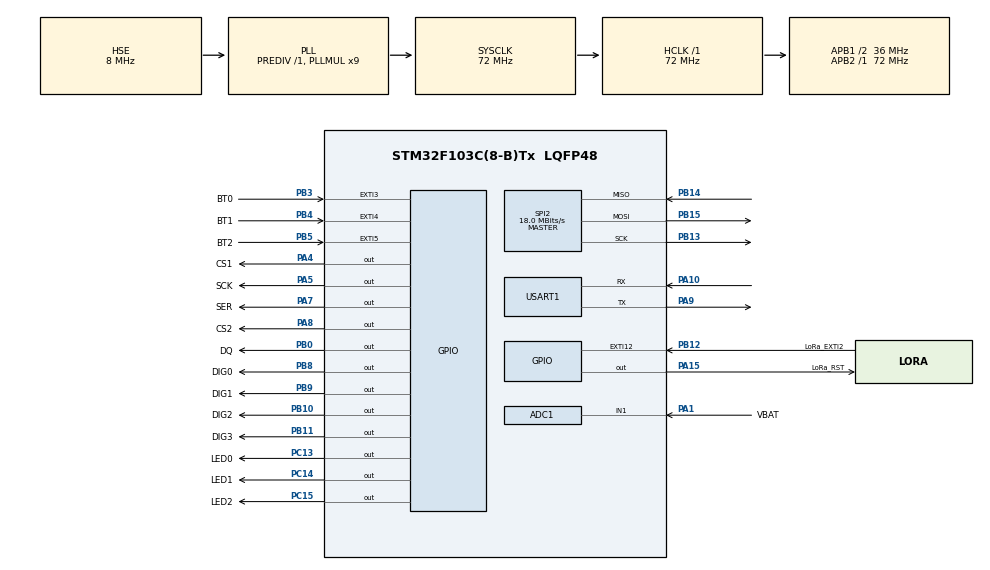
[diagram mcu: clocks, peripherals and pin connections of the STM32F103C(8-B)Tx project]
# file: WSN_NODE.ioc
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ADC1.Channel-1\#ChannelRegularConversion=ADC_CHANNEL_1
ADC1.Channel-2\#ChannelRegularConversion=ADC_CHANNEL_VREFINT
ADC1.ContinuousConvMode=ENABLE
ADC1.NbrOfConversion=2
ADC1.NbrOfConversionFlag=1
ADC1.Rank-1\#ChannelRegularConversion=1
ADC1.Rank-2\#ChannelRegularConversion=2
ADC1.SamplingTime-1\#ChannelRegularConversion=ADC_SAMPLETIME_239CYCLES_5
ADC1.SamplingTime-2\#ChannelRegularConversion=ADC_SAMPLETIME_239CYCLES_5
ADC1.master=1
Dma.ADC1.0.Direction=DMA_PERIPH_TO_MEMORY
Dma.ADC1.0.Instance=DMA1_Channel1
Dma.ADC1.0.MemDataAlignment=DMA_MDATAALIGN_WORD
Dma.ADC1.0.MemInc=DMA_MINC_ENABLE
Dma.ADC1.0.Mode=DMA_CIRCULAR
Dma.ADC1.0.PeriphDataAlignment=DMA_PDATAALIGN_WORD
Dma.ADC1.0.PeriphInc=DMA_PINC_DISABLE
Dma.ADC1.0.Priority=DMA_PRIORITY_LOW
Dma.Request0=ADC1
FREERTOS.Tasks01=defaultTask,0,128,StartDefaultTask,Default,NULL,Dynamic,NULL,NULL
FREERTOS.configUSE_IDLE_HOOK=1
FREERTOS.configUSE_TICKLESS_IDLE=0
FREERTOS.configUSE_TIMERS=1
IWDG.Prescaler=IWDG_PRESCALER_256
IWDG.Reload=2344
Mcu.Family=STM32F1
Mcu.Name=STM32F103C(8-B)Tx
Mcu.Package=LQFP48
NVIC.DMA1_Channel1_IRQn=true\:5\:0\:false\:false\:true\:true\:false\:true\:true
NVIC.EXTI15_10_IRQn=true\:5\:0\:false\:false\:true\:true\:true\:true\:true
NVIC.EXTI3_IRQn=true\:5\:0\:false\:false\:true\:true\:true\:true\:true
NVIC.EXTI4_IRQn=true\:5\:0\:false\:false\:true\:true\:true\:true\:true
NVIC.EXTI9_5_IRQn=true\:5\:0\:false\:false\:true\:true\:true\:true\:true
NVIC.PriorityGroup=NVIC_PRIORITYGROUP_4
NVIC.RTC_Alarm_IRQn=true\:5\:0\:false\:false\:true\:true\:true\:true\:true
NVIC.RTC_IRQn=true\:5\:0\:false\:false\:true\:true\:true\:true\:true
NVIC.TIM1_UP_IRQn=true\:15\:0\:false\:false\:true\:false\:false\:true\:true
NVIC.TIM3_IRQn=true\:5\:0\:false\:false\:true\:true\:true\:true\:true
NVIC.TIM4_IRQn=true\:5\:0\:false\:false\:true\:true\:true\:true\:true
NVIC.TimeBase=TIM1_UP_IRQn
NVIC.TimeBaseIP=TIM1
PA1.GPIO_Label=VBAT
PA1.Signal=ADCx_IN1
PA10.Mode=Asynchronous
PA10.Signal=USART1_RX
PA13.Mode=Serial_Wire
PA13.Signal=SYS_JTMS-SWDIO
PA14.Mode=Serial_Wire
PA14.Signal=SYS_JTCK-SWCLK
PA15.GPIO_Label=LoRa_RST
PA15.GPIO_PuPd=GPIO_PULLUP
PA15.Signal=GPIO_Output
PA4.GPIO_Label=CS1
PA4.GPIO_PuPd=GPIO_NOPULL
PA4.GPIO_Speed=GPIO_SPEED_FREQ_HIGH
PA4.Signal=GPIO_Output
PA5.GPIO_Label=SCK
PA5.GPIO_Speed=GPIO_SPEED_FREQ_HIGH
PA5.Signal=GPIO_Output
PA7.GPIO_Label=SER
PA7.GPIO_Speed=GPIO_SPEED_FREQ_HIGH
PA7.Signal=GPIO_Output
PA8.GPIO_Label=CS2
PA8.GPIO_PuPd=GPIO_PULLUP
PA8.Signal=GPIO_Output
PA9.Mode=Asynchronous
PA9.Signal=USART1_TX
PB0.GPIO_Label=DQ
PB0.GPIO_ModeDefaultOutputPP=GPIO_MODE_OUTPUT_OD
PB0.GPIO_PuPd=GPIO_NOPULL
PB0.GPIO_Speed=GPIO_SPEED_FREQ_HIGH
PB0.Signal=GPIO_Output
PB10.GPIO_Label=DIG2
PB10.GPIO_PuPd=GPIO_NOPULL
PB10.Signal=GPIO_Output
PB11.GPIO_Label=DIG3
PB11.GPIO_PuPd=GPIO_NOPULL
PB11.Signal=GPIO_Output
PB12.GPIO_Label=LoRa_EXTI2
PB12.GPIO_PuPd=GPIO_PULLDOWN
PB12.Signal=GPXTI12
PB13.Mode=Full_Duplex_Master
PB13.Signal=SPI2_SCK
PB14.Mode=Full_Duplex_Master
PB14.Signal=SPI2_MISO
PB15.Mode=Full_Duplex_Master
PB15.Signal=SPI2_MOSI
PB3.GPIO_Label=BT0
PB3.GPIO_ModeDefaultEXTI=GPIO_MODE_IT_FALLING
PB3.Signal=GPXTI3
PB4.GPIO_Label=BT1
PB4.GPIO_ModeDefaultEXTI=GPIO_MODE_IT_FALLING
PB4.Signal=GPXTI4
PB5.GPIO_Label=BT2
PB5.GPIO_ModeDefaultEXTI=GPIO_MODE_IT_FALLING
PB5.Signal=GPXTI5
PB8.GPIO_Label=DIG0
PB8.GPIO_PuPd=GPIO_NOPULL
PB8.Signal=GPIO_Output
PB9.GPIO_Label=DIG1
PB9.GPIO_PuPd=GPIO_NOPULL
PB9.Signal=GPIO_Output
PC13-TAMPER-RTC.GPIO_Label=LED0
PC13-TAMPER-RTC.GPIO_PuPd=GPIO_PULLUP
PC13-TAMPER-RTC.Signal=GPIO_Output
PC14-OSC32_IN.GPIO_Label=LED1
PC14-OSC32_IN.GPIO_PuPd=GPIO_PULLUP
PC14-OSC32_IN.Signal=GPIO_Output
PC15-OSC32_OUT.GPIO_Label=LED2
PC15-OSC32_OUT.GPIO_PuPd=GPIO_PULLUP
PC15-OSC32_OUT.Signal=GPIO_Output
PD0-OSC_IN.Mode=HSE-External-Oscillator
PD0-OSC_IN.Signal=RCC_OSC_IN
PD1-OSC_OUT.Mode=HSE-External-Oscillator
PD1-OSC_OUT.Signal=RCC_OSC_OUT
ProjectManager.HeapSize=0x200
ProjectManager.StackSize=0x400
ProjectManager.TargetToolchain=Makefile
RCC.ADCPresc=RCC_ADCPCLK2_DIV6
RCC.AHBFreq_Value=72000000
RCC.APB1CLKDivider=RCC_HCLK_DIV2
RCC.APB1Freq_Value=36000000
RCC.APB1TimFreq_Value=72000000
RCC.APB2Freq_Value=72000000
RCC.APB2TimFreq_Value=72000000
RCC.HCLKFreq_Value=72000000
RCC.PLLMUL=RCC_PLL_MUL9
RCC.PLLSourceVirtual=RCC_PLLSOURCE_HSE
RCC.SYSCLKFreq_VALUE=72000000
RCC.SYSCLKSource=RCC_SYSCLKSOURCE_PLLCLK
RCC.USBFreq_Value=72000000
RTC.AutoPrediv=RTC_AUTO_1_SECOND
RTC.Format=RTC_FORMAT_BCD
RTC.OutPut=RTC_OUTPUTSOURCE_ALARM
SH.ADCx_IN1.0=ADC1_IN1,IN1
SPI2.BaudRatePrescaler=SPI_BAUDRATEPRESCALER_2
SPI2.CalculateBaudRate=18.0 MBits/s
SPI2.Direction=SPI_DIRECTION_2LINES
SPI2.Mode=SPI_MODE_MASTER
SPI2.VirtualType=VM_MASTER
TIM2.Period=65535
TIM2.Prescaler=71
TIM3.Period=1999
TIM3.Prescaler=71
TIM4.Period=14999
TIM4.Prescaler=7199
USART1.VirtualMode=VM_ASYNC
VP_ADC1_Vref_Input.Mode=IN-Vrefint
VP_FREERTOS_VS_CMSIS_V1.Mode=CMSIS_V1
VP_IWDG_VS_IWDG.Mode=IWDG_Activate
VP_RTC_VS_RTC_Activate.Mode=RTC_Enabled
VP_SYS_VS_tim1.Mode=TIM1
VP_TIM2_VS_ClockSourceINT.Mode=Internal
VP_TIM3_VS_ClockSourceINT.Mode=Internal
VP_TIM4_VS_ClockSourceINT.Mode=Internal
board=custom

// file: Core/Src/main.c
/* USER CODE BEGIN Header */
/**
  ******************************************************************************
  * @file           : main.c
  * @brief          : Main program body
  ******************************************************************************
  * @attention
  *
  * Copyright (c) 2022 STMicroelectronics.
  * All rights reserved.
  *
  * This software is licensed under terms that can be found in the LICENSE file
  * in the root directory of this software component.
  * If no LICENSE file comes with this software, it is provided AS-IS.
  *
  ******************************************************************************
  */
/* USER CODE END Header */
#include "main.h"
#include "cmsis_os.h"
#include "adc.h"
#include "dma.h"
#include "iwdg.h"
#include "rtc.h"
#include "spi.h"
#include "tim.h"
#include "usart.h"
#include "gpio.h"

/* USER CODE BEGIN Includes */

#include <stdio.h>
#include <stdint.h>
#include <string.h>
#include <stdlib.h>
#include <math.h>
#include <stdbool.h>
#include <time.h>
#include "sx1278.h"
#include "common.h"
#include "display.h"

/* USER CODE END Includes */

void SystemClock_Config(void);
void MX_FREERTOS_Init(void);

/* USER CODE BEGIN 0 */
static const char *TAG = "MAIN";
sx1278_node_t sx1278_node;
/* USER CODE END 0 */

int main(void)
{

  /* MCU Configuration--------------------------------------------------------*/

  /* Reset of all peripherals, Initializes the Flash interface and the Systick. */
  HAL_Init();

  /* Configure the system clock */
  SystemClock_Config();

  /* Initialize all configured peripherals */
  MX_GPIO_Init();
  MX_DMA_Init();
  MX_ADC1_Init();
  MX_SPI2_Init();
  MX_USART1_UART_Init();
  MX_TIM2_Init();
  MX_TIM3_Init();
  MX_TIM4_Init();
  MX_IWDG_Init();
  MX_RTC_Init();
  /* USER CODE BEGIN 2 */
  // sx1278_node.node_id = get_random_value(1, 99);
  sx1278_node.node_id = 6;
  char data_log[20];
  sprintf(data_log, "node_id: %d", sx1278_node.node_id);
  LOG(TAG, data_log);
  /* USER CODE END 2 */

  /* Call init function for freertos objects (in freertos.c) */
  MX_FREERTOS_Init();

  /* Start scheduler */
  osKernelStart();

  /* We should never get here as control is now taken by the scheduler */
  /* Infinite loop */
  while (1)
  {

  }
}

void SystemClock_Config(void)
{
  RCC_OscInitTypeDef RCC_OscInitStruct = {0};
  RCC_ClkInitTypeDef RCC_ClkInitStruct = {0};
  RCC_PeriphCLKInitTypeDef PeriphClkInit = {0};

  /** Initializes the RCC Oscillators according to the specified parameters
  * in the RCC_OscInitTypeDef structure.
  */
  RCC_OscInitStruct.OscillatorType = RCC_OSCILLATORTYPE_LSI|RCC_OSCILLATORTYPE_HSE;
  RCC_OscInitStruct.HSEState = RCC_HSE_ON;
  RCC_OscInitStruct.HSEPredivValue = RCC_HSE_PREDIV_DIV1;
  RCC_OscInitStruct.HSIState = RCC_HSI_ON;
  RCC_OscInitStruct.LSIState = RCC_LSI_ON;
  RCC_OscInitStruct.PLL.PLLState = RCC_PLL_ON;
  RCC_OscInitStruct.PLL.PLLSource = RCC_PLLSOURCE_HSE;
  RCC_OscInitStruct.PLL.PLLMUL = RCC_PLL_MUL9;
  if (HAL_RCC_OscConfig(&RCC_OscInitStruct) != HAL_OK)
  {
    Error_Handler();
  }

  /** Initializes the CPU, AHB and APB buses clocks
  */
  RCC_ClkInitStruct.ClockType = RCC_CLOCKTYPE_HCLK|RCC_CLOCKTYPE_SYSCLK
                              |RCC_CLOCKTYPE_PCLK1|RCC_CLOCKTYPE_PCLK2;
  RCC_ClkInitStruct.SYSCLKSource = RCC_SYSCLKSOURCE_PLLCLK;
  RCC_ClkInitStruct.AHBCLKDivider = RCC_SYSCLK_DIV1;
  RCC_ClkInitStruct.APB1CLKDivider = RCC_HCLK_DIV2;
  RCC_ClkInitStruct.APB2CLKDivider = RCC_HCLK_DIV1;

  if (HAL_RCC_ClockConfig(&RCC_ClkInitStruct, FLASH_LATENCY_2) != HAL_OK)
  {
    Error_Handler();
  }
  PeriphClkInit.PeriphClockSelection = RCC_PERIPHCLK_RTC|RCC_PERIPHCLK_ADC;
  PeriphClkInit.RTCClockSelection = RCC_RTCCLKSOURCE_LSI;
  PeriphClkInit.AdcClockSelection = RCC_ADCPCLK2_DIV6;
  if (HAL_RCCEx_PeriphCLKConfig(&PeriphClkInit) != HAL_OK)
  {
    Error_Handler();
  }
}

/* USER CODE BEGIN 4 */
// __weak
/* USER CODE END 4 */

__weak void HAL_TIM_PeriodElapsedCallback(TIM_HandleTypeDef *htim)
{
  if (htim->Instance == TIM1) {
    HAL_IncTick();
  }
}

void Error_Handler(void)
{
  /* USER CODE BEGIN Error_Handler_Debug */
  /* User can add his own implementation to report the HAL error return state */
  __disable_irq();
  while (1)
  {
    __NVIC_SystemReset();
  }
  /* USER CODE END Error_Handler_Debug */
}

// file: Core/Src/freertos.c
/* USER CODE BEGIN Header */
/**
  ******************************************************************************
  * File Name          : freertos.c
  * Description        : Code for freertos applications
  ******************************************************************************
  * @attention
  *
  * <h2><center>&copy; Copyright (c) 2023 STMicroelectronics.
  * All rights reserved.</center></h2>
  *
  * This software component is licensed by ST under Ultimate Liberty license
  * SLA0044, the "License"; You may not use this file except in compliance with
  * the License. You may obtain a copy of the License at:
  *                             www.st.com/SLA0044
  *
  ******************************************************************************
  */
/* USER CODE END Header */

#include "FreeRTOS.h"
#include "task.h"
#include "main.h"
#include "cmsis_os.h"

/* USER CODE BEGIN Includes */
#include <stdio.h>

#include "time.h"
#include "timers.h"
#include "portmacro.h"
#include "event_groups.h"
#include "semphr.h"

#include "display.h"
#include "DS18B20.h"
#include "sx1278.h"
#include "common.h"

#include "adc.h"
#include "iwdg.h"
#include "rtc.h"
/* USER CODE END Includes */

/* USER CODE BEGIN PD */

#define VREFINT             (1.21)
#define ADC_RESOLUTION      (4095.0)
#define RATIO               (1.3216)
/* USER CODE END PD */

/* USER CODE BEGIN Variables */

RTC_TimeTypeDef stime = {
  .Hours = 0,
  .Minutes = 0,
  .Seconds = 0
};

RTC_AlarmTypeDef salarm = {
  .Alarm = 0,
  .AlarmTime.Hours = 0,
  .AlarmTime.Minutes = 0,
  .AlarmTime.Seconds = 9,
};

SemaphoreHandle_t xSema;

bool isButtonPress = false;
bool isSleep = false;
bool isIndicate = false;

uint8_t btPressed = 0xFF;

static const char *TAG = "FREERTOS";
EventGroupHandle_t sx1278_evt_group;
extern sx1278_node_t sx1278_node;
BaseType_t xHigherPriorityTaskWoken = pdFALSE;

/* USER CODE END Variables */
osThreadId defaultTaskHandle;

/* USER CODE BEGIN FunctionPrototypes */

void sx1278_task(void *param)
{
  static uint8_t data_send[128] = {0};
  static uint8_t data_recv[128] = {0};
  static char data_log[100];
  static char snr_arr[10];
  static float snr = 0;
  static int rssi = 0;
  EventBits_t evt_bits;
  sx1278_init();
	sx1278_evt_group = xEventGroupCreate();
	while(1)
	{
		sx1278_start_recv_data();
		evt_bits = xEventGroupWaitBits(sx1278_evt_group, SX1278_DIO0_BIT, pdTRUE, pdFALSE, portMAX_DELAY);
		if(evt_bits & SX1278_DIO0_BIT)
		{
			if(sx1278_recv_data(data_recv, &rssi, &snr, &sx1278_node) == SX1278_OK)
			{
        memset(data_log, '\0', sizeof(data_log));
        memset(snr_arr, '\0', sizeof(snr_arr));
				ftoa((double)snr, snr_arr, 2);
				sprintf(data_log, "Packet rssi: %d, snr: %s", rssi, snr_arr);
				LOG(TAG, data_log);
				listen_before_talk();
				send_respond(UPLINK_TX_RESPOND_OPCODE, sx1278_node, data_send);
			}
			else
			{
        //Do nothing
			}
		}
	}
}

void peripheral_task(void *param)
{

  DS18B20_Init(DS18B20_Resolution_12bits);
  displayInit();
  displayInt(8888);

  static uint8_t sw = 0;
  static uint16_t ADC_VREF_mV = 3300;
  static uint32_t adc[22] = {0};

  HAL_GPIO_WritePin(LED0_GPIO_Port, LED0_Pin, GPIO_PIN_SET);
  HAL_GPIO_WritePin(LED1_GPIO_Port, LED1_Pin, GPIO_PIN_SET);
  HAL_GPIO_WritePin(LED2_GPIO_Port, LED2_Pin, GPIO_PIN_SET);

  static float temperature = 0;
  static float battery = 0;

  __HAL_TIM_SetCounter(&htim4, 0);
  __HAL_TIM_CLEAR_IT(&htim4, TIM_IT_UPDATE);

  volatile uint32_t timeKeeper0 = HAL_GetTick();
  volatile uint32_t timeKeeper1 = HAL_GetTick() - 1000;
  volatile uint32_t timeKeeper2 = HAL_GetTick();

	while(1)
	{
    HAL_ADC_Start_DMA(&hadc1, adc, 20);
    HAL_RTC_SetTime(&hrtc, &stime, RTC_FORMAT_BCD);
    HAL_RTC_SetAlarm_IT(&hrtc, &salarm, RTC_FORMAT_BCD);
    timeKeeper0 = HAL_GetTick();
    timeKeeper1 = HAL_GetTick() - 1000;
    timeKeeper2 = HAL_GetTick();
    while ((HAL_GetTick() - timeKeeper2) <= 3000)
    {
      if ((HAL_GetTick() - timeKeeper0) >= 1000)
      {
        DS18B20_Read(0, &temperature);
        DS18B20_Start(0);
        timeKeeper0 = HAL_GetTick();
      }

      if ((btPressed == 0) && (temperature <= 125) && (temperature >= -55))
        displayFloat(temperature);
      else if ((btPressed == 1) && (battery <= 4.5) && (battery >= 2.4))
        displayFloat(battery);
      else if (btPressed == 2)
        displayInt(sx1278_node.node_id);

      if ((isIndicate == true) && (btPressed == 0xFF) && ((HAL_GetTick() - timeKeeper1) >= 1000))
      {
        if (sw == 0 )
        {
          displayInt(sx1278_node.node_id);
          sw = 1;
        }
        else if ((sw == 1) && (temperature <= 125) && (temperature >= -55))
        {
          displayFloat(temperature);
          sw = 2;
        }
        else if ((sw == 2) && (battery <= 4.5) && (battery >= 2.4))
        {
          displayFloat(battery);
          sw = 0;
        }
        timeKeeper1 = HAL_GetTick();
      }

      adc[20] = 0;
      adc[21] = 0;
      for (uint8_t i = 0; i < 20; i += 2)
      {
        adc[20] += adc[i];
        adc[21] += adc[i+1];
      }
      adc[20] /= 10;
      adc[21] /= 10;

      ADC_VREF_mV = (uint16_t)(VREFINT * ADC_RESOLUTION * 1000 / adc[21]) - 130;
      battery = (float)(((float)adc[20] * RATIO * ADC_VREF_mV / ADC_RESOLUTION) / 1000);
      ftoa((double)temperature, sx1278_node.temp, 2);
      ftoa((double)battery, sx1278_node.battery, 2);
      HAL_Delay(500);
    }
    HAL_GPIO_WritePin(LED0_GPIO_Port, LED0_Pin, GPIO_PIN_SET);
    HAL_GPIO_WritePin(LED1_GPIO_Port, LED1_Pin, GPIO_PIN_SET);
    HAL_GPIO_WritePin(LED2_GPIO_Port, LED2_Pin, GPIO_PIN_SET);
    displayStop();
    HAL_ADC_Stop_DMA(&hadc1);

    btPressed = 0xFF;
    sw = 0;
    isButtonPress = false;
    isSleep = true;

    HAL_IWDG_Refresh(&hiwdg);
    if (uxSemaphoreGetCount(xSema) > 0)   xSemaphoreTake(xSema, portMAX_DELAY);
    if (xSemaphoreTake(xSema, portMAX_DELAY) == pdTRUE);
    HAL_Delay(1);
	}
}

/* USER CODE END FunctionPrototypes */

void StartDefaultTask(void const * argument);

void MX_FREERTOS_Init(void); /* (MISRA C 2004 rule 8.1) */

/* GetIdleTaskMemory prototype (linked to static allocation support) */
void vApplicationGetIdleTaskMemory( StaticTask_t **ppxIdleTaskTCBBuffer, StackType_t **ppxIdleTaskStackBuffer, uint32_t *pulIdleTaskStackSize );

/* GetTimerTaskMemory prototype (linked to static allocation support) */
void vApplicationGetTimerTaskMemory( StaticTask_t **ppxTimerTaskTCBBuffer, StackType_t **ppxTimerTaskStackBuffer, uint32_t *pulTimerTaskStackSize );

/* Hook prototypes */
void vApplicationIdleHook(void);

/* USER CODE BEGIN 2 */
__weak void vApplicationIdleHook( void )
{
    /* vApplicationIdleHook() will only be called if configUSE_IDLE_HOOK is set
    to 1 in FreeRTOSConfig.h. It will be called on each iteration of the idle
    task. It is essential that code added to this hook function never attempts
    to block in any way (for example, call xQueueReceive() with a block time
    specified, or call vTaskDelay()). If the application makes use of the
    vTaskDelete() API function (as this demo application does) then it is also
    important that vApplicationIdleHook() is permitted to return to its calling
    function, because it is the responsibility of the idle task to clean up
    memory allocated by the kernel to any task that has since been deleted. */

  if (isSleep == true)
  {
    HAL_SuspendTick();
    // HAL_PWR_EnterSLEEPMode(PWR_MAINREGULATOR_ON, PWR_SLEEPENTRY_WFI);
    HAL_PWR_EnterSTOPMode(PWR_LOWPOWERREGULATOR_ON, PWR_SLEEPENTRY_WFI);
  }

}

void restartCLK(void)
{
  RCC_OscInitTypeDef RCC_OscInitStruct = {0};
  RCC_ClkInitTypeDef RCC_ClkInitStruct = {0};
  RCC_PeriphCLKInitTypeDef PeriphClkInit = {0};

  /** Initializes the RCC Oscillators according to the specified parameters
  * in the RCC_OscInitTypeDef structure.
  */
  RCC_OscInitStruct.OscillatorType = RCC_OSCILLATORTYPE_LSI|RCC_OSCILLATORTYPE_HSE;
  RCC_OscInitStruct.HSEState = RCC_HSE_ON;
  RCC_OscInitStruct.HSEPredivValue = RCC_HSE_PREDIV_DIV1;
  RCC_OscInitStruct.HSIState = RCC_HSI_ON;
  RCC_OscInitStruct.LSIState = RCC_LSI_ON;
  RCC_OscInitStruct.PLL.PLLState = RCC_PLL_ON;
  RCC_OscInitStruct.PLL.PLLSource = RCC_PLLSOURCE_HSE;
  RCC_OscInitStruct.PLL.PLLMUL = RCC_PLL_MUL9;
  if (HAL_RCC_OscConfig(&RCC_OscInitStruct) != HAL_OK)
  {
    Error_Handler();
  }

  /** Initializes the CPU, AHB and APB buses clocks
  */
  RCC_ClkInitStruct.ClockType = RCC_CLOCKTYPE_HCLK|RCC_CLOCKTYPE_SYSCLK
                              |RCC_CLOCKTYPE_PCLK1|RCC_CLOCKTYPE_PCLK2;
  RCC_ClkInitStruct.SYSCLKSource = RCC_SYSCLKSOURCE_PLLCLK;
  RCC_ClkInitStruct.AHBCLKDivider = RCC_SYSCLK_DIV1;
  RCC_ClkInitStruct.APB1CLKDivider = RCC_HCLK_DIV2;
  RCC_ClkInitStruct.APB2CLKDivider = RCC_HCLK_DIV1;

  if (HAL_RCC_ClockConfig(&RCC_ClkInitStruct, FLASH_LATENCY_2) != HAL_OK)
  {
    Error_Handler();
  }
  PeriphClkInit.PeriphClockSelection = RCC_PERIPHCLK_RTC|RCC_PERIPHCLK_ADC;
  PeriphClkInit.RTCClockSelection = RCC_RTCCLKSOURCE_LSI;
  PeriphClkInit.AdcClockSelection = RCC_ADCPCLK2_DIV6;
  if (HAL_RCCEx_PeriphCLKConfig(&PeriphClkInit) != HAL_OK)
  {
    Error_Handler();
  }
}

/* USER CODE END 2 */

/* USER CODE BEGIN GET_IDLE_TASK_MEMORY */
static StaticTask_t xIdleTaskTCBBuffer;
static StackType_t xIdleStack[configMINIMAL_STACK_SIZE];

void vApplicationGetIdleTaskMemory( StaticTask_t **ppxIdleTaskTCBBuffer, StackType_t **ppxIdleTaskStackBuffer, uint32_t *pulIdleTaskStackSize )
{
  *ppxIdleTaskTCBBuffer = &xIdleTaskTCBBuffer;
  *ppxIdleTaskStackBuffer = &xIdleStack[0];
  *pulIdleTaskStackSize = configMINIMAL_STACK_SIZE;
  /* place for user code */
}
/* USER CODE END GET_IDLE_TASK_MEMORY */

/* USER CODE BEGIN GET_TIMER_TASK_MEMORY */
static StaticTask_t xTimerTaskTCBBuffer;
static StackType_t xTimerStack[configTIMER_TASK_STACK_DEPTH];

void vApplicationGetTimerTaskMemory( StaticTask_t **ppxTimerTaskTCBBuffer, StackType_t **ppxTimerTaskStackBuffer, uint32_t *pulTimerTaskStackSize )
{
  *ppxTimerTaskTCBBuffer = &xTimerTaskTCBBuffer;
  *ppxTimerTaskStackBuffer = &xTimerStack[0];
  *pulTimerTaskStackSize = configTIMER_TASK_STACK_DEPTH;
  /* place for user code */
}
/* USER CODE END GET_TIMER_TASK_MEMORY */

void MX_FREERTOS_Init(void) {

  /* USER CODE BEGIN RTOS_SEMAPHORES */
  /* add semaphores, ... */
  xSema = xSemaphoreCreateBinary();
  /* USER CODE END RTOS_SEMAPHORES */

  /* Create the thread(s) */
  /* definition and creation of defaultTask */
  // osThreadDef(defaultTask, StartDefaultTask, osPriorityNormal, 0, 128);
  // defaultTaskHandle = osThreadCreate(osThread(defaultTask), NULL);

  /* USER CODE BEGIN RTOS_THREADS */
  /* add threads, ... */
  xTaskCreate(&sx1278_task, "SX1278", 256, NULL, 9, NULL);
  xTaskCreate(&peripheral_task, "PERIPHERAL", 256, NULL, 10, NULL);
  /* USER CODE END RTOS_THREADS */

}

void StartDefaultTask(void const * argument)
{
  for(;;)
  {
    osDelay(1);
  }
}

/* USER CODE BEGIN Application */

void HAL_GPIO_EXTI_Callback(uint16_t GPIO_Pin)
{
  if (isSleep == true)
  {
    do
    {
      uwTick = 0;
      HAL_RCC_DeInit();
      restartCLK();
    }
    while (HAL_RCC_GetHCLKFreq() != 72000000);
    HAL_ResumeTick();
    xSemaphoreGiveFromISR(xSema, &xHigherPriorityTaskWoken);
    isSleep = false;
  }

  if ((HAL_GPIO_ReadPin(GPIOB, GPIO_Pin) == 0) && (isButtonPress == false) && (GPIO_Pin != GPIO_PIN_12))
  {
    isButtonPress = true;

    if (GPIO_Pin == BT0_Pin)
    {
      btPressed = 0;
      HAL_GPIO_WritePin(LED2_GPIO_Port, LED2_Pin, GPIO_PIN_RESET);
    }
    else if (GPIO_Pin == BT1_Pin)
    {
      btPressed = 1;
      HAL_GPIO_WritePin(LED1_GPIO_Port, LED1_Pin, GPIO_PIN_RESET);
    }
    else if (GPIO_Pin == BT2_Pin)
    {
      btPressed = 2;
      HAL_TIM_Base_Start_IT(&htim4);
      HAL_GPIO_WritePin(LED0_GPIO_Port, LED0_Pin, GPIO_PIN_RESET);
    }
    displayResume();
  }

  if ((HAL_GPIO_ReadPin(GPIOB, GPIO_Pin) == 1) && (GPIO_Pin == GPIO_PIN_12))
	{
		xEventGroupSetBitsFromISR(sx1278_evt_group, SX1278_DIO0_BIT, &xHigherPriorityTaskWoken);
	}
}

void HAL_TIM_PeriodElapsedCallback(TIM_HandleTypeDef *htim)
{
    /* USER CODE BEGIN Callback 0 */

  /* USER CODE END Callback 0 */
  if (htim->Instance == TIM1)
  {
    HAL_IncTick();
  }
  /* USER CODE BEGIN Callback 1 */

  if (htim->Instance == TIM3)
  {
    displayDigit(digIndex++);
    if (digIndex >= 4)  digIndex = 0;
  }

  if (htim->Instance == TIM4)
  {
    HAL_TIM_Base_Stop_IT(&htim4);
    if (HAL_GPIO_ReadPin(BT2_GPIO_Port, BT2_Pin) == 0)
    {
      isIndicate = !isIndicate;
      HAL_GPIO_WritePin(LED1_GPIO_Port, LED1_Pin, GPIO_PIN_RESET);
      HAL_GPIO_WritePin(LED2_GPIO_Port, LED2_Pin, GPIO_PIN_RESET);
    }
  }

  /* USER CODE END Callback 1 */
}

void HAL_RTC_AlarmAEventCallback(RTC_HandleTypeDef *hrtc)
{
  if (isSleep == true)
  {
    do
    {
      uwTick = 0;
      HAL_RCC_DeInit();
      restartCLK();
    }
    while (HAL_RCC_GetHCLKFreq() != 72000000);
    if (isIndicate == true)
    {
      displayResume();
      HAL_GPIO_WritePin(LED0_GPIO_Port, LED0_Pin, GPIO_PIN_RESET);
      HAL_GPIO_WritePin(LED1_GPIO_Port, LED1_Pin, GPIO_PIN_RESET);
      HAL_GPIO_WritePin(LED2_GPIO_Port, LED2_Pin, GPIO_PIN_RESET);
    }
    HAL_ResumeTick();
    xSemaphoreGiveFromISR(xSema, &xHigherPriorityTaskWoken);
    isSleep = false;
  }
}

/* USER CODE END Application */
